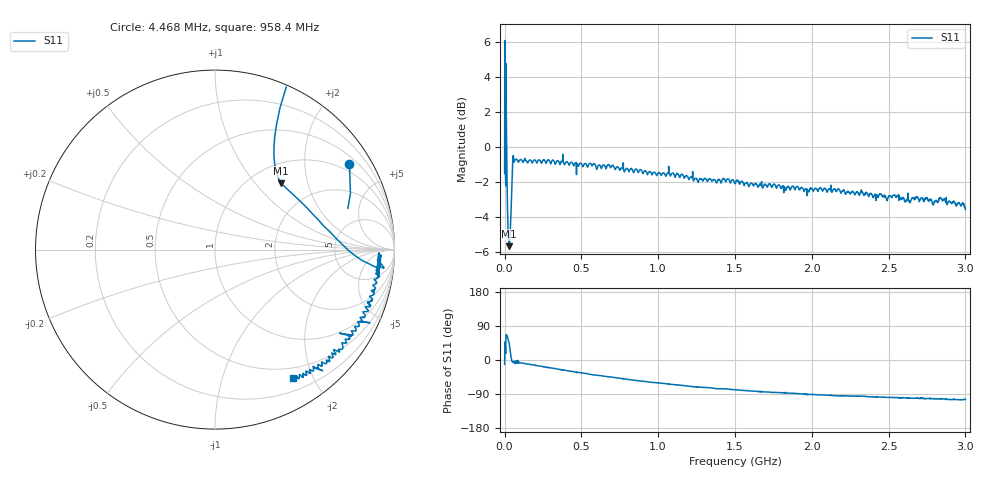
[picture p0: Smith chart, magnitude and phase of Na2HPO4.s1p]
# HZ S RI R 50
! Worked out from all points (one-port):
!   2020 points, 10 kHz to 3 GHz, reference 50 ohm
!   lowest |S11| = -5.7 dB at 29.73 MHz (marker M1), VSWR 3.18, Z = 67.9 + j68.9 ohm
!   |S11| at or under -10 dB: nowhere
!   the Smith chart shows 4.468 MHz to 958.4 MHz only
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10000  0.8242 -0.171
7439395  0.7402 0.2302
1.635467e7  0.3428 0.6974
1.784055e7  0.3322 0.624
1.932643e7  0.3282 0.5652
2.378406e7  0.3381 0.4464
2.675582e7  0.3524 0.3989
2.972758e7  0.3676 0.3695
3.864285e7  0.5754 0.1659
4.904401e7  0.8207 -0.0614
5.795928e7  0.9359 -0.0938
6.687456e7  0.9145 -0.0798
2.377506e8  0.8668 -0.2576
3.759374e8  0.8202 -0.4015
5.691017e8  0.6885 -0.5555
7.503789e8  0.5734 -0.64
8.737069e8  0.4899 -0.6983
1.126306e9  0.3473 -0.7658
1.242205e9  0.2631 -0.7711
1.500748e9  0.1539 -0.7714
1.875189e9  0.0296 -0.7724
2.158992e9  -0.0583 -0.7465
2.251117e9  -0.0672 -0.7334
2.549778e9  -0.1188 -0.7105
2.625558e9  -0.1278 -0.6962
2.845468e9  -0.155 -0.6961
2.965824e9  -0.1757 -0.6638
3e9  -0.1586 -0.6446
